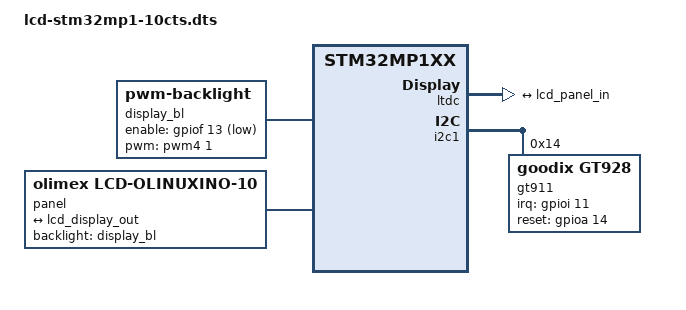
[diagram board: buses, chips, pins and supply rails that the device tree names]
/dts-v1/;
/plugin/;

/ {
	compatible = "olimex,stm32mp1xx-olinuxino-som";
	description = "LCD-OLinuXino-10CTS 1024x600 with capacitive TS and I2C interface";

	fragment@0 {
		target-path = "/";
		__overlay__ {
			display_bl: display-bl {
                                    compatible = "pwm-backlight";
                                    pwms = <&pwm4 1 50000 1>;
                                    brightness-levels = <0 10 20 30 40 50 60 70 80 90 100>;
                                    default-brightness-level = <10>;
                                    enable-gpios = <&gpiof 13 1>;
                                    status = "okay";
                        };
			panel {
                              compatible = "olimex,lcd-olinuxino-10";
                              backlight = <&display_bl>;
                              port {
                                lcd_panel_in: endpoint {
                                       remote-endpoint = <&lcd_display_out>;
                                };
                            };
                      };
		};
	};

	fragment@1 {
		target = <&ltdc>;
		__overlay__ {
		pinctrl-names = "default", "sleep";
                pinctrl-0 = <&ltdc_pins_b>;
                pinctrl-1 = <&ltdc_sleep_pins_b>;
                status = "okay";
                port {
                        lcd_display_out: endpoint {
                        remote-endpoint = <&lcd_panel_in>;
                    };
               };
	    };
	};

	fragment@2 {
	 target = <&pinctrl>;
                __overlay__ {
                        ltdc_pins_b: ltdc-1 {
                                pins {
                                        pinmux = <0x8E0F 0x8C0F 0x8D0F 0xA70F 0x8F0F 0x900F 0x910F 0x920F 0x930F 0x940F 0x950F 0x960F 0x970F 0x980F 0x990F 0x9A0F 0x9B0F 0xA00F 0xA10F 0xA20F 0x9C0F 0x9D0F 0x9E0F 0x9F0F 0xA30F 0xA40F 0xA50F 0xA60F>;
					bias-disable;
                                        drive-push-pull;
                                        slew-rate = <1>;

                                };
                        };

                        ltdc_sleep_pins_b: ltdc-sleep-1  {
                                pins {
                                        pinmux = <0x8e11 0x8c11 0x8d11 0xa711 0x8f11 0x9011 0x9111 0x9211 0x9311 0x9411 0x9511 0x9611 0x9711 0x9811 0x9911 0x9a11 0x9b11 0xa011 0xa111 0xa211 0x9c11 0x9d11 0x9e11 0x9f11 0xa311 0xa411 0xa511 0xa611>;
                                };
                        };
                };

	};

	fragment@3 {
		target = <&i2c1>;
		__overlay__ {
			gt911@14 {
                                compatible = "goodix,gt928";
                                reg = <0x14>;

                                interrupt-parent = <&gpioi>;
                                interrupts = <11 IRQ_TYPE_EDGE_FALLING>;          /* PI11: IRQ_TYPE_EDGE_FALLING */

                                irq-gpios = <&gpioi 11 0>;      /* PH10 */
                                reset-gpios = <&gpioa 14 GPIO_ACTIVE_HIGH>;    /* PA14: GPIO_ACTIVE_HIGH */

                                touchscreen-swapped-x-y;
                        };
		};
	};
};

 	fragment@4 {
                target = <&i2c1>;
                __overlay__ {
                        gt911@14 {
                                compatible = "goodix,gt928";
                                reg = <0x14>;

                                interrupt-parent = <&gpioi>;
                                interrupts = <11 IRQ_TYPE_EDGE_FALLING>;          /* PI11: IRQ_TYPE_EDGE_FALLING */

                                irq-gpios = <&gpioi 11 0>;      /* PH10 */
                                reset-gpios = <&gpioa 14 GPIO_ACTIVE_HIGH>;    /* PA14: GPIO_ACTIVE_HIGH */

                                touchscreen-swapped-x-y;
                        };
                };
        };
};
	
